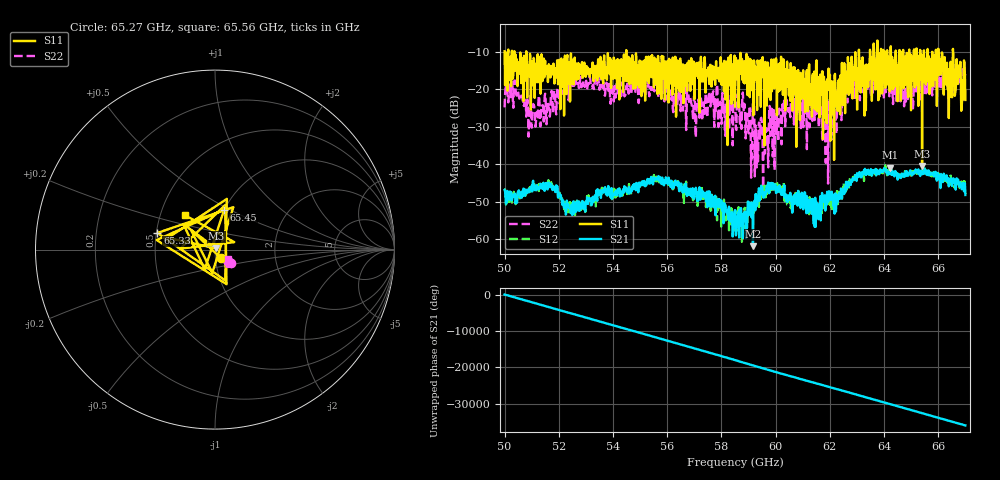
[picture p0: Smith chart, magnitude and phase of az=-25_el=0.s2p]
!Created with skrf (http://scikit-rf.org).
# GHz S RI R 50.0
!freq ReS11 ImS11 ReS21 ImS21 ReS12 ImS12 ReS22 ImS22
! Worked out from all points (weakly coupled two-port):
!   1001 points, 50 GHz to 67 GHz, reference 50 ohm
!   highest |S21| = -40.91 dB at 64.23 GHz (marker M1); lowest = -61.9 dB at 59.16 GHz (marker M2)
!   lowest |S11| = -40.4 dB at 65.4 GHz (marker M3), VSWR 1.02, Z = 50.7 + j0.663 ohm
!   |S11| at or under -10 dB: 50.8 GHz to 54.49 GHz (3.686 GHz wide, 7 % of centre); 54.49 GHz to 63.07 GHz (8.581 GHz wide, 14.6 % of centre); 66.01 GHz to 66.54 GHz (533 MHz wide, 0.804 % of centre) (the widest 3 of 27)
!   |S22| runs from -47.9 to -14.0 dB; largest |S21 - S12| = 0.0024
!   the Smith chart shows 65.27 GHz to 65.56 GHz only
!   S11 on the Smith chart (normalised r, x): 65.27 GHz: 1.07, -0.10; 65.33 GHz: 0.51, +0.11; 65.45 GHz: 1.00, +0.47; 65.56 GHz: 0.67, +0.27
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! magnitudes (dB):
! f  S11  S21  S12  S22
! 50 GHz  -9.9  -46.9  -46.8  -24.9
! 50.42 GHz  -13.1  -49.4  -48.6  -21.3
! 51.07 GHz  -11.7  -46.0  -46.6  -24.2
! 52.84 GHz  -13.5  -50.0  -50.4  -19.5
! 55.68 GHz  -13.5  -43.2  -43.8  -22.3
! 57 GHz  -22.7  -46.6  -48.5  -21.5
! 58.5 GHz  -24.7  -52.2  -55.6  -24.4
! 59.16 GHz  -13.2  -61.9  -52.0  -23.1
! 59.61 GHz  -12.8  -48.3  -47.7  -37.2
! 59.86 GHz  -20.6  -46.4  -46.2  -25.3
! 60.64 GHz  -14.2  -49.6  -49.8  -22.4
! 61.34 GHz  -27.4  -53.2  -51.3  -25.8
! 61.92 GHz  -20.2  -49.1  -49.7  -26.7
! 62.61 GHz  -20.9  -45.1  -46.9  -20.3
! 64.18 GHz  -19.1  -42.7  -42.2  -18.5
! 64.23 GHz  -14.2  -40.9  -41.8  -18.1
! 65.27 GHz  -24.5  -41.4  -41.8  -18.7
! 65.33 GHz  -9.5  -43.1  -42.4  -19.4
! 65.4 GHz  -40.4  -42.3  -41.6  -19.9
! 65.45 GHz  -12.8  -42.5  -42.2  -17.7
! 65.56 GHz  -12.0  -41.8  -42.7  -21.1
! 67 GHz  -22.9  -48.2  -47.9  -15.8
